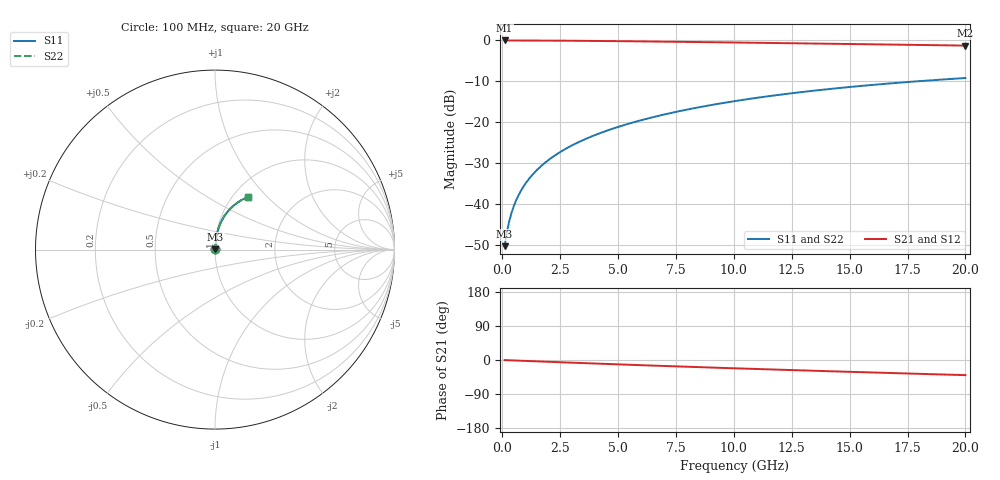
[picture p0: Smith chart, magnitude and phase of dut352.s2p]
! Touchstone file exported from HFSS 2024.1.0
!  File:  C:/UserFiles/LocalFiles/RDL_TSV_Batchsim/temp_RDL_top_352_1779608205.aedt
!  Generated:  03:39:00 PM May 24, 2026
!  Design:  RDL_top
!  Project:  temp_RDL_top_352_1779608205
!  Setup:  Setup1
!  Solution:  Sweep
! Variables:
!  dtsv = 10.80580581um
!  hbump = 3um
!  htsv = 97.44um
!  ldown = 100um
!  lrdl = 587.57um
!  p = 40
!  p1 = 45.85um
!  rhole = 1um
!  t = 450um
!  tdown = 3.915915916um
!  trdl = 4.57um
!  wdown = 15.38538539um
!  wrdl = 20.53um
# GHz S MA R 50.000000
! Terminal data exported
! Port[1] = Box2_T1
! Port[2] = Box2_T2
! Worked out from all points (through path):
!   200 points, 100 MHz to 20 GHz, reference 50 ohm
!   highest |S21| = -0.02 dB at 100 MHz (marker M1); lowest = -1.3 dB at 20 GHz (marker M2)
!   group delay of S21, straight-line fit = 5.5 ps
!   lowest |S11| = -50.3 dB at 100 MHz (marker M3), VSWR 1.01, Z = 50.2 + j0.191 ohm
!   |S11| at or under -10 dB: start of sweep to 17.95 GHz
!   |S22| runs from -50.3 to -9.2 dB; largest |S21 - S12| = 4.4e-15
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0.1  0.003041 38.6  0.9976 -0.2  0.9976 -0.2  0.003041 38.6
! Gamma 0 0 0 0
! Port Impedance 50 0 50 0
0.2  0.004503 56.4  0.9975 -0.5  0.9975 -0.5  0.004503 56.4
0.3  0.006141 64.5  0.9973 -0.7  0.9973 -0.7  0.006141 64.5
0.4  0.007802 69.1  0.9971 -1.0  0.9971 -1.0  0.007801 69.1
0.5  0.009456 72.0  0.997 -1.2  0.997 -1.2  0.009455 72.0
0.6  0.0111 74.1  0.9968 -1.5  0.9968 -1.5  0.0111 74.1
0.8  0.01439 76.9  0.9965 -1.9  0.9965 -1.9  0.01439 76.9
1.1  0.01936 79.6  0.9959 -2.6  0.9959 -2.6  0.01936 79.6
1.3  0.0227 80.7  0.9955 -3.1  0.9955 -3.1  0.0227 80.7
1.6  0.02775 81.8  0.9948 -3.8  0.9948 -3.8  0.02775 81.8
2.1  0.03625 82.9  0.9932 -5.0  0.9932 -5.0  0.03625 82.9
2.7  0.04658 83.5  0.9909 -6.4  0.9909 -6.4  0.04658 83.5
3.5  0.06055 83.5  0.9872 -8.2  0.9872 -8.2  0.06056 83.5
4.2  0.07298 83.3  0.9834 -9.8  0.9834 -9.8  0.07298 83.3
5  0.08738 82.7  0.9785 -11.6  0.9785 -11.6  0.08738 82.7
6.8  0.1204 80.7  0.9663 -15.4  0.9663 -15.4  0.1205 80.7
8.4  0.1503 78.3  0.9546 -18.7  0.9546 -18.7  0.1503 78.3
10.1  0.1819 75.6  0.9416 -22.1  0.9416 -22.1  0.182 75.5
11.7  0.2113 72.7  0.9291 -25.1  0.9291 -25.1  0.2113 72.7
13.4  0.2416 69.7  0.9156 -28.3  0.9156 -28.3  0.2416 69.6
16.7  0.2968 63.6  0.8893 -34.2  0.8893 -34.2  0.2968 63.6
20  0.3463 57.8  0.8632 -39.9  0.8632 -39.9  0.3463 57.8
